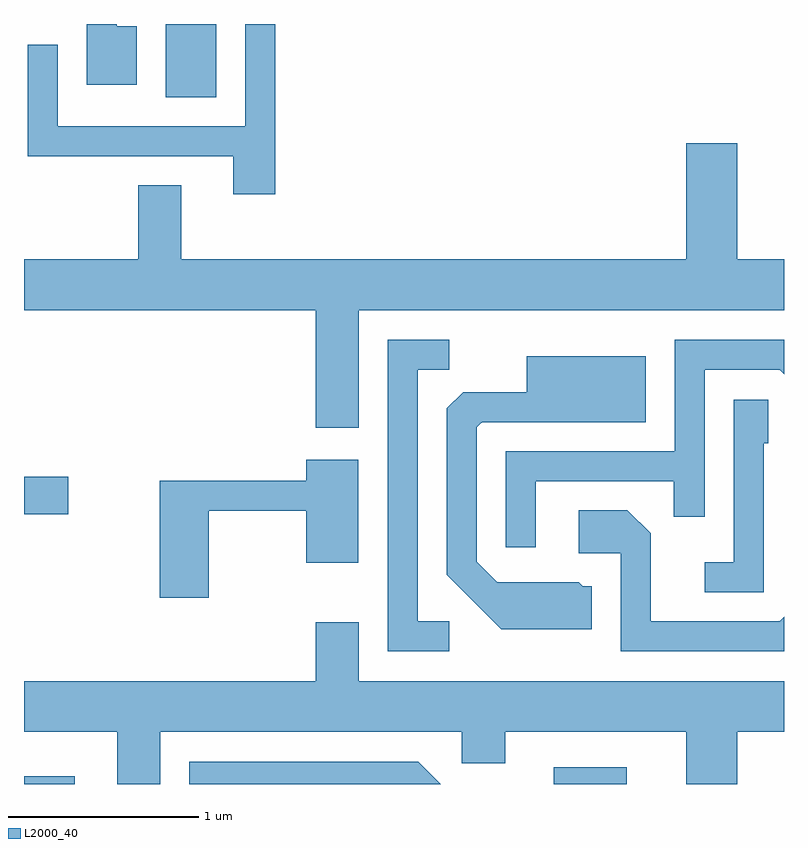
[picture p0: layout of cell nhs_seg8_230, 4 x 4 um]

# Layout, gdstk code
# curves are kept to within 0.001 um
import gdstk
lib = gdstk.Library(unit=1e-6, precision=1e-09)
def R(c, l, rs):  # rectangles x0, y0, x1, y1
    for r in rs: c.add(gdstk.rectangle(r[:2], r[2:], *l))
def P(c, l, *ps):  # polygons
    for p in ps: c.add(gdstk.Polygon(p, *l))
L2000_40 = (2000, 40)

nhs_seg8_230 = lib.new_cell('nhs_seg8_230')
R(nhs_seg8_230, L2000_40, [(191.611,1858.342,191.878,1858.384), (194.398,1858.342,194.784,1858.429), (191.611,1859.761,191.844,1859.959), (192.356,1861.956,192.624,1862.342)])
P(nhs_seg8_230, L2000_40, [(192.204,1862.329),(192.099,1862.329),(192.099,1862.342),(191.941,1862.342),(191.941,1862.021),(192.204,1862.021)],
  [(192.934,1862.342),(192.776,1862.342),(192.776,1861.804),(191.789,1861.804),(191.789,1862.233),(191.631,1862.233),(191.631,1861.646),(192.711,1861.646),(192.711,1861.446),(192.934,1861.446)],
  [(193.374,1860.836),(195.611,1860.836),(195.611,1861.104),(195.364,1861.104),(195.364,1861.714),(195.096,1861.714),(195.096,1861.104),(192.439,1861.104),(192.439,1861.494),(192.211,1861.494),(192.211,1861.104),(191.611,1861.104),(191.611,1860.836),(193.146,1860.836),(193.146,1860.216),(193.374,1860.216)],
  [(193.848,1859.199),(193.684,1859.199),(193.684,1860.521),(193.848,1860.521),(193.848,1860.679),(193.526,1860.679),(193.526,1859.041),(193.848,1859.041)],
  [(194.304,1859.936),(195.031,1859.936),(195.031,1859.748),(195.194,1859.748),(195.194,1860.521),(195.589,1860.521),(195.611,1860.499),(195.611,1860.679),(195.036,1860.679),(195.036,1860.094),(194.146,1860.094),(194.146,1859.588),(194.304,1859.588)],
  [(194.599,1859.384),(194.552,1859.384),(194.532,1859.404),(194.102,1859.404),(193.994,1859.512),(193.994,1860.219),(194.022,1860.246),(194.884,1860.246),(194.884,1860.594),(194.256,1860.594),(194.256,1860.404),(193.922,1860.404),(193.836,1860.319),(193.836,1859.444),(194.124,1859.156),(194.599,1859.156)],
  [(195.504,1860.136),(195.529,1860.136),(195.529,1860.364),(195.346,1860.364),(195.346,1859.509),(195.193,1859.509),(195.193,1859.351),(195.504,1859.351)],
  [(192.584,1859.781),(193.096,1859.781),(193.096,1859.506),(193.369,1859.506),(193.369,1860.049),(193.096,1860.049),(193.096,1859.939),(192.326,1859.939),(192.326,1859.321),(192.584,1859.321)],
  [(195.611,1859.221),(195.589,1859.199),(194.909,1859.199),(194.909,1859.662),(194.787,1859.784),(194.531,1859.784),(194.531,1859.556),(194.751,1859.556),(194.751,1859.041),(195.611,1859.041)],
  [(192.329,1858.616),(193.916,1858.616),(193.916,1858.451),(194.144,1858.451),(194.144,1858.616),(195.096,1858.616),(195.096,1858.342),(195.364,1858.342),(195.364,1858.616),(195.611,1858.616),(195.611,1858.884),(193.374,1858.884),(193.374,1859.194),(193.146,1859.194),(193.146,1858.884),(191.611,1858.884),(191.611,1858.616),(192.101,1858.616),(192.101,1858.342),(192.329,1858.342)],
  [(193.687,1858.459),(192.481,1858.459),(192.481,1858.342),(193.804,1858.342)])

lib.write_gds('nhs_seg8_230.gds')
